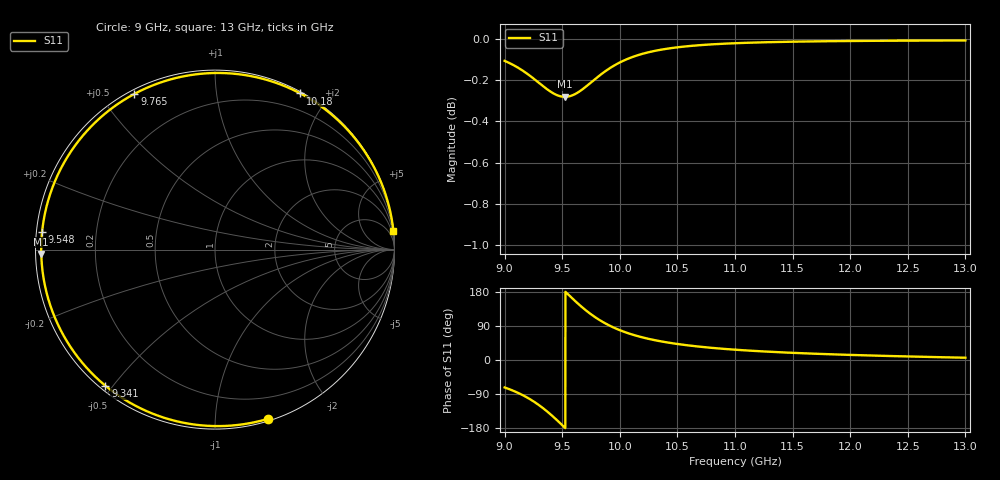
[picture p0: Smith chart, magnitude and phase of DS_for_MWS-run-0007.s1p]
! TOUCHSTONE file generated by CST DESIGN STUDIO
! Date and time: Tue Feb  4 17:32:17 2025
! Project name: C:\Work\MatlabApps\UnitCellOptimizationMatlab\CST\unitcell.cst
! Tree item: Tasks\Sweep1\SPara1\S-Parameters
! Header version: 2024
! Port assignment regex: !\s*Touchstone port\s*([0-9]+)\s*=\s*(CST MWS port|CST DES external port|CST DES block port)\s*(.+)\s* \(\"(.*)\"\)(\s*mode\s*([0-9]+))?.*
! Touchstone port assignment:
! Touchstone port 1 = CST DES external port 1 ("")
# GHz S MA R 50
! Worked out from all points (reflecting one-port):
!   4001 points, 9 GHz to 13 GHz, reference 50 ohm
!   lowest |S11| = -0.3 dB at 9.523 GHz (marker M1), VSWR 61.99, Z = 0.807 - j0.617 ohm
!   phase of S11 starts at -72 deg and turns -282 deg over the sweep
!   S11 on the Smith chart (normalised r, x): 9 GHz: 0.02, -1.36; 9.341 GHz: 0.02, -0.48; 9.548 GHz: 0.02, +0.05; 9.765 GHz: 0.02, +0.61; 10.18 GHz: 0.02, +1.69; 13 GHz: 0, +19
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9  0.988 -72.5
9.093  0.985 -83.5
9.199  0.9807 -99.6
9.273  0.9771 -113.7
9.341  0.9737 -128.8
9.384  0.9717 -139.6
9.429  0.9699 -151.6
9.5  0.9684 -171.9
9.523  0.9682 -178.6
9.548  0.9684 174.1
9.602  0.9694 158.5
9.662  0.9717 142.1
9.713  0.9742 129.2
9.765  0.9769 117.4
9.814  0.9794 107.4
9.868  0.9819 97.6
9.934  0.9847 87.4
10  0.9871 78.7
10.084  0.9895 69.5
10.175  0.9914 61.4
10.323  0.9937 51.1
10.5  0.9955 42.2
10.722  0.9968 34.3
11  0.9977 27.2
11.5  0.9986 18.9
12  0.999 13.4
12.5  0.9992 9.3
13  0.9993 6.0
